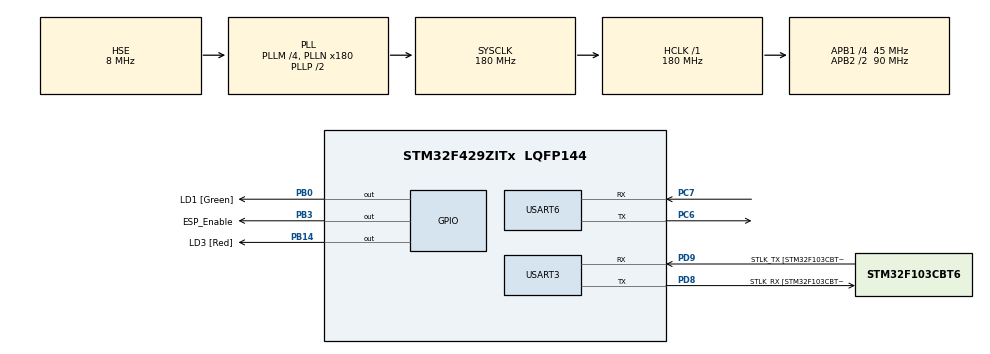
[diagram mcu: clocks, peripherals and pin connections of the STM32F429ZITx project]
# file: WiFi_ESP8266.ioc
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Mcu.Family=STM32F4
Mcu.Name=STM32F429ZITx
Mcu.Package=LQFP144
NVIC.PriorityGroup=NVIC_PRIORITYGROUP_4
PA13.GPIO_Label=TMS
PA13.Mode=Serial_Wire
PA13.Signal=SYS_JTMS-SWDIO
PA14.GPIO_Label=TCK
PA14.Mode=Serial_Wire
PA14.Signal=SYS_JTCK-SWCLK
PB0.GPIO_Label=LD1 [Green]
PB0.Signal=GPIO_Output
PB14.GPIO_Label=LD3 [Red]
PB14.Signal=GPIO_Output
PB3.GPIO_Label=ESP_Enable
PB3.Signal=GPIO_Output
PC14/OSC32_IN.Mode=LSE-External-Oscillator
PC14/OSC32_IN.Signal=RCC_OSC32_IN
PC15/OSC32_OUT.Mode=LSE-External-Oscillator
PC15/OSC32_OUT.Signal=RCC_OSC32_OUT
PC6.Mode=Asynchronous
PC6.Signal=USART6_TX
PC7.Mode=Asynchronous
PC7.Signal=USART6_RX
PD8.GPIO_Label=STLK_RX [STM32F103CBT6_PA3]
PD8.Mode=Asynchronous
PD8.Signal=USART3_TX
PD9.GPIO_Label=STLK_TX [STM32F103CBT6_PA2]
PD9.Mode=Asynchronous
PD9.Signal=USART3_RX
PH0/OSC_IN.GPIO_Label=MCO [STM32F103CBT6_PA8]
PH0/OSC_IN.Mode=HSE-External-Clock-Source
PH0/OSC_IN.Signal=RCC_OSC_IN
PH1/OSC_OUT.Mode=HSE-External-Clock-Source
PH1/OSC_OUT.Signal=RCC_OSC_OUT
ProjectManager.HeapSize=0x200
ProjectManager.StackSize=0x400
ProjectManager.TargetToolchain=STM32CubeIDE
RCC.48MHZClocksFreq_Value=51428571.428571425
RCC.AHBFreq_Value=180000000
RCC.APB1CLKDivider=RCC_HCLK_DIV4
RCC.APB1Freq_Value=45000000
RCC.APB1TimFreq_Value=90000000
RCC.APB2CLKDivider=RCC_HCLK_DIV2
RCC.APB2Freq_Value=90000000
RCC.APB2TimFreq_Value=180000000
RCC.CortexFreq_Value=180000000
RCC.HCLKFreq_Value=180000000
RCC.HSE_VALUE=8000000
RCC.HSI_VALUE=16000000
RCC.PLLM=4
RCC.PLLMUL=RCC_PLL_MUL9
RCC.PLLN=180
RCC.PLLQ=7
RCC.PLLSourceVirtual=RCC_PLLSOURCE_HSE
RCC.PRESCALERUSB=RCC_USBCLKSOURCE_PLL_DIV1_5
RCC.SYSCLKFreq_VALUE=180000000
RCC.SYSCLKSource=RCC_SYSCLKSOURCE_PLLCLK
RCC.SYSCLKSourceVirtual=RCC_SYSCLKSOURCE_PLLCLK
RCC.USBFreq_Value=48000000
RCC.VCOOutputFreq_Value=360000000
USART3.VirtualMode=VM_ASYNC
USART6.VirtualMode=VM_ASYNC
board=NUCLEO-F429ZI

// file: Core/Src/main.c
/* USER CODE BEGIN Header */
/**
  ******************************************************************************
  * @file           : main.c
  * @brief          : Main program body
  ******************************************************************************
  * @attention
  *
  * Copyright (c) 2022 STMicroelectronics.
  * All rights reserved.
  *
  * This software is licensed under terms that can be found in the LICENSE file
  * in the root directory of this software component.
  * If no LICENSE file comes with this software, it is provided AS-IS.
  *
  ******************************************************************************
  */
/* USER CODE END Header */
#include "main.h"
#include "usart.h"
#include "gpio.h"

/* USER CODE BEGIN PD */

// Total number of configuration commands
#define COMMANDS 12
/* USER CODE END PD */

/* USER CODE BEGIN PV */
// ESP8266 module receive buffer
char data_r[1000];

// message received buffer
char message[100];

// Echo message ready flag
int ready_to_send = 0;

// Config commands table for ESP8266
const char* config[] = {
		"AT+RST\r\n",								// Restart the module
		"ATE0\r\n",									// Disable echo of commands
		"AT\r\n",									// Test communication
		"AT+GMR\r\n",								// Check software version
		"AT+CWMODE=1\r\n",							// Operate as client
		"AT+CIPMODE=0\r\n",							// Choose receive data format
		"AT+CIPMUX=1\r\n",							// Configure multiple connections
		"AT+CIPSERVER=1,7\r\n",						// Enable server and set port to 7
		"AT+CWMODE=?\r\n",							// Check operation mode
		"AT+CWJAP=\"KAJA_K14583\",\"****************\"\r\n",	// Connect to WiFi with given SSID and password
		"AT+CIPSTA?\r\n",							// Check connection status
		"AT+CIFSR\r\n"								// Display server IP address
};
/* USER CODE END PV */

void SystemClock_Config(void);
/* USER CODE BEGIN PFP */

// Clear buffer function
void clr_buffer(char* buff, int size);

// Function checking whether the module is busy
int is_busy(void);

// Function preparing the echo message
void prepare_echo(void);

/* USER CODE END PFP */

/* USER CODE BEGIN 0 */

// Function clearing the given buffer
void clr_buffer(char* buff, int size)
{
	int i;

	for (i = 0; i < size; i++)
	{
		buff[i] = 0;
	}
}

// Function checking whether the module answered that it's busy
int is_busy(void)
{
	// Return value variable
	int ret = 0;

	// Check if the receive buffer contains substring "busy"
	if (strstr(data_r, "busy") != NULL)
	{
		ret = 1;
	}

	return ret;
}

void prepare_echo(void)
{
	// Message length buffer (works with messages up to 99 characters)
	char byte_count[3];

	// Sending command buffer
	char command[20];
	int i;

	// Check whether the reply from the module informs that a message was received
	if (strstr(data_r, "+IPD") != NULL)
	{
		// move to the beginning of message length info
		i = 9;

		// extract message length info
		while(data_r[i] != ':')
		{
			byte_count[i - 9] = data_r[i];
			i++;
		}
		byte_count[i - 9] = '\0';

		// move to the first character of the message
		i++;

		// extract the message
		while(data_r[i] != 0)
		{
			message[i - 11] = data_r[i];
			i++;
		}

		// close the message
		message[i++] = '\r';
		message[i++] = '\n';
		message[i] = '\0';

		// Format the sending data command
		sprintf(command, "AT+CIPSEND=0,%d\r\n", atoi(byte_count));

		// Send the command
		HAL_UART_Transmit(&huart6, (uint8_t*)(command), strlen(command), 10);

		// Set the ready flag
		ready_to_send = 1;
	}
}

/* USER CODE END 0 */

int main(void)
{

  /* MCU Configuration--------------------------------------------------------*/

  /* Reset of all peripherals, Initializes the Flash interface and the Systick. */
  HAL_Init();

  /* Configure the system clock */
  SystemClock_Config();

  /* Initialize all configured peripherals */
  MX_GPIO_Init();
  MX_USART3_UART_Init();
  MX_USART6_UART_Init();
  /* USER CODE BEGIN 2 */

  // Enable the ESP8266
  HAL_GPIO_WritePin(GPIOB, GPIO_PIN_3, GPIO_PIN_SET);
  /* USER CODE END 2 */

  /* Infinite loop */
  /* USER CODE BEGIN WHILE */
  int i;

  // Configure the ESP8266 module
  for (i = 1; i < COMMANDS - 2; i++)
  {
  	  // Send the configuration command
	  HAL_UART_Transmit(&huart6, (uint8_t*)(config[i]), strlen(config[i]), 10);

	  // Clear the receive buffer
	  clr_buffer(data_r, 1000);

	  // Receive the response
	  HAL_UART_Receive(&huart6, (uint8_t*)data_r, sizeof(data_r), 100);

	  // During restart sequence, wait 1 second for module to restart
	  if (i == 0)
	  {
		  HAL_Delay(1000);
	  }

	  // Pass the result to the overseeing PC
	  HAL_UART_Transmit(&huart3, (uint8_t*)data_r, sizeof(data_r), 10);
	  HAL_UART_Transmit(&huart3, (uint8_t*)"\r\n\n", sizeof("\r\n\n"), 10);
  }

  // Configure the connection (separated due to the processing time of the module)
  for (i = COMMANDS - 3; i < COMMANDS; i++)
  {
	  // Send the command
	  HAL_UART_Transmit(&huart6, (uint8_t*)(config[i]), strlen(config[i]), 10);

	  // Clear the receive buffer
	  clr_buffer(data_r, 1000);

	  // Receive the response
	  HAL_UART_Receive(&huart6, (uint8_t*)data_r, sizeof(data_r), 100);

	  // Wait for the command to be processed (mostly applicable to DHCP address receive)
	  while(is_busy())
	  {
		  HAL_Delay(1000);

		  // Re-transmit the configuration command
		  HAL_UART_Transmit(&huart6, (uint8_t*)(config[i]), strlen(config[i]), 10);

		  // Clear the receive buffer
		  clr_buffer(data_r, 1000);

		  // Receive the response
		  HAL_UART_Receive(&huart6, (uint8_t*)data_r, sizeof(data_r), 100);
	  }

	  // Pass the result to the overseeing PC
	  HAL_UART_Transmit(&huart3, (uint8_t*)data_r, sizeof(data_r), 10);
	  HAL_UART_Transmit(&huart3, (uint8_t*)"\r\n\n", sizeof("\r\n\n"), 10);
  }

  // clear the buffer
  clr_buffer(data_r, 1000);

  while (1)
  {
	  // If echo message is ready to be sent back
	  if (ready_to_send)
	  {
		  // Transmit the message
		  HAL_UART_Transmit(&huart6, (uint8_t*)message, sizeof(message), 10);

		  // Clear the flag
		  ready_to_send = 0;
	  }
	  // If there is a message to be processed
	  else if (data_r[0] != 0)
	  {
		  // Prepare data for echo message
		  prepare_echo();

		  // Send the received data to overseeing PC
		  HAL_UART_Transmit(&huart3, (uint8_t*)data_r, sizeof(data_r), 10);
		  HAL_UART_Transmit(&huart3, (uint8_t*)"\r\n\n", sizeof("\r\n\n"), 10);
	  }

	  // clear the buffer
	  clr_buffer(data_r, 1000);

	  // receive a message from the ESP8266 module
	  HAL_UART_Receive(&huart6, (uint8_t*)data_r, sizeof(data_r), 100);

    /* USER CODE END WHILE */

  }
}

void SystemClock_Config(void)
{
  RCC_OscInitTypeDef RCC_OscInitStruct = {0};
  RCC_ClkInitTypeDef RCC_ClkInitStruct = {0};

  /** Configure the main internal regulator output voltage
  */
  __HAL_RCC_PWR_CLK_ENABLE();
  __HAL_PWR_VOLTAGESCALING_CONFIG(PWR_REGULATOR_VOLTAGE_SCALE1);
  /** Initializes the RCC Oscillators according to the specified parameters
  * in the RCC_OscInitTypeDef structure.
  */
  RCC_OscInitStruct.OscillatorType = RCC_OSCILLATORTYPE_HSE;
  RCC_OscInitStruct.HSEState = RCC_HSE_BYPASS;
  RCC_OscInitStruct.PLL.PLLState = RCC_PLL_ON;
  RCC_OscInitStruct.PLL.PLLSource = RCC_PLLSOURCE_HSE;
  RCC_OscInitStruct.PLL.PLLM = 4;
  RCC_OscInitStruct.PLL.PLLN = 180;
  RCC_OscInitStruct.PLL.PLLP = RCC_PLLP_DIV2;
  RCC_OscInitStruct.PLL.PLLQ = 7;
  if (HAL_RCC_OscConfig(&RCC_OscInitStruct) != HAL_OK)
  {
    Error_Handler();
  }
  /** Activate the Over-Drive mode
  */
  if (HAL_PWREx_EnableOverDrive() != HAL_OK)
  {
    Error_Handler();
  }
  /** Initializes the CPU, AHB and APB buses clocks
  */
  RCC_ClkInitStruct.ClockType = RCC_CLOCKTYPE_HCLK|RCC_CLOCKTYPE_SYSCLK
                              |RCC_CLOCKTYPE_PCLK1|RCC_CLOCKTYPE_PCLK2;
  RCC_ClkInitStruct.SYSCLKSource = RCC_SYSCLKSOURCE_PLLCLK;
  RCC_ClkInitStruct.AHBCLKDivider = RCC_SYSCLK_DIV1;
  RCC_ClkInitStruct.APB1CLKDivider = RCC_HCLK_DIV4;
  RCC_ClkInitStruct.APB2CLKDivider = RCC_HCLK_DIV2;

  if (HAL_RCC_ClockConfig(&RCC_ClkInitStruct, FLASH_LATENCY_5) != HAL_OK)
  {
    Error_Handler();
  }
}

void Error_Handler(void)
{
  __disable_irq();
  while (1)
  {
  }
}
